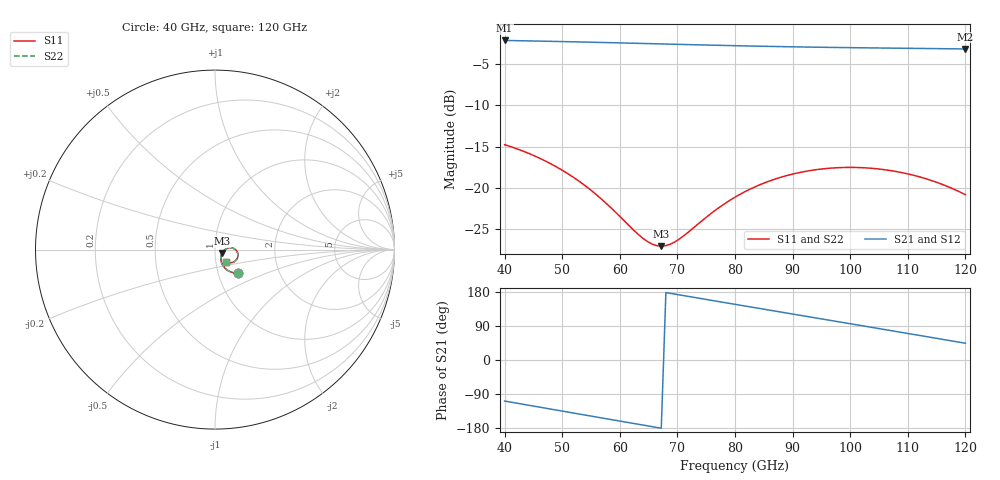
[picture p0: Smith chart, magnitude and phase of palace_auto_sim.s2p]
#  GHZ S DB R 50
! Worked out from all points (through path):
!   101 points, 40 GHz to 120 GHz, reference 50 ohm
!   highest |S21| = -2.11 dB at 40 GHz (marker M1); lowest = -3.1 dB at 120 GHz (marker M2)
!   group delay of S21, straight-line fit = 7.18 ps
!   lowest |S11| = -27.1 dB at 67.2 GHz (marker M3), VSWR 1.09, Z = 54.1 - j2.16 ohm
!   |S11| at or under -10 dB: start of sweep to end of sweep
!   |S22| runs from -27.1 to -14.7 dB; largest |S21 - S12| = 8.3e-14
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40  -14.75 -45.2  -2.11 -108.3  -2.11 -108.3  -14.74 -45.4
43.2  -15.53 -50.5  -2.16 -116.8  -2.16 -116.8  -15.52 -50.7
46.4  -16.50 -55.3  -2.20 -125.3  -2.20 -125.3  -16.48 -55.6
50.4  -18.01 -60.4  -2.26 -135.9  -2.26 -135.9  -18.00 -60.7
53.6  -19.52 -63.0  -2.31 -144.3  -2.31 -144.3  -19.50 -63.4
59.2  -22.90 -61.5  -2.40 -159.1  -2.40 -159.1  -22.88 -61.9
64  -26.10 -46.4  -2.48 -171.6  -2.48 -171.6  -26.10 -46.9
65.6  -26.80 -37.2  -2.51 -175.8  -2.51 -175.8  -26.81 -37.7
67.2  -27.05 -26.6  -2.53 -180.0  -2.53 -180.0  -27.07 -27.1
68.8  -26.80 -16.4  -2.56 175.9  -2.56 175.9  -26.83 -16.8
70.4  -26.16 -7.8  -2.59 171.7  -2.59 171.7  -26.18 -8.2
75.2  -23.44 5.4  -2.67 159.3  -2.67 159.3  -23.45 5.1
80  -21.12 6.7  -2.75 146.9  -2.75 146.9  -21.12 6.3
83.2  -19.95 4.4  -2.80 138.7  -2.80 138.7  -19.94 4.1
87.2  -18.86 -0.1  -2.85 128.5  -2.85 128.5  -18.85 -0.5
93.6  -17.83 -9.3  -2.93 112.1  -2.93 112.1  -17.81 -9.8
97.6  -17.55 -15.6  -2.97 101.9  -2.97 101.9  -17.53 -16.2
100.8  -17.51 -20.8  -2.99 93.7  -2.99 93.7  -17.49 -21.5
104  -17.63 -26.0  -3.02 85.5  -3.02 85.5  -17.61 -26.7
107.2  -17.91 -31.1  -3.05 77.2  -3.05 77.2  -17.89 -31.9
113.6  -18.98 -40.5  -3.09 60.8  -3.09 60.8  -18.96 -41.4
120  -20.81 -47.3  -3.15 44.2  -3.15 44.2  -20.80 -48.5
